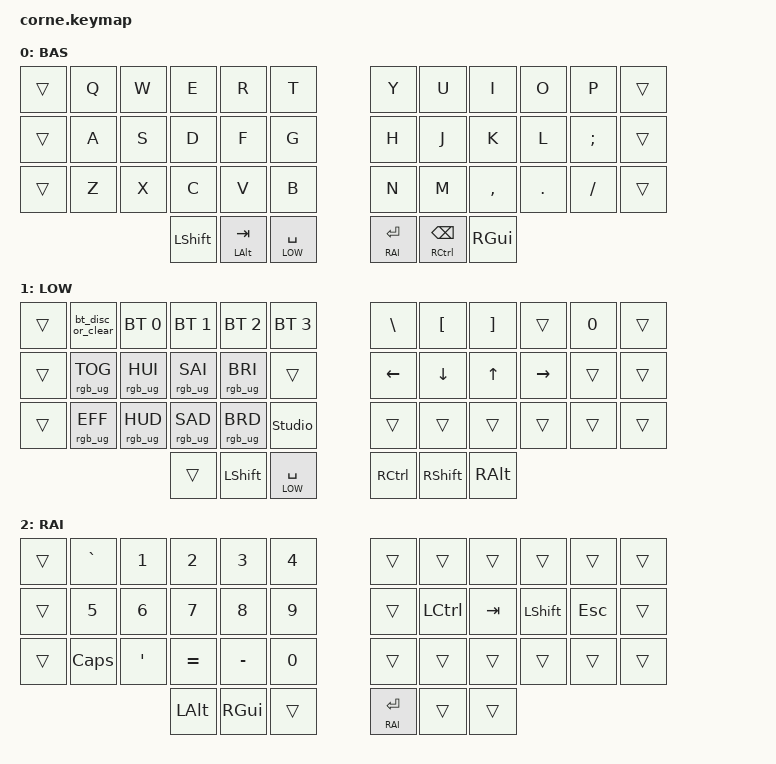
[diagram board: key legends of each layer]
/*
 * Copyright (c) 2020 The ZMK Contributors
 *
 * SPDX-License-Identifier: MIT
 */

#include <behaviors.dtsi>
#include <dt-bindings/zmk/keys.h>
#include <dt-bindings/zmk/bt.h>
#include <dt-bindings/zmk/rgb.h>

#define BAS 0
#define LOW 1
#define RAI 2

&led_strip {
    chain-length = <27>;
};

/ {
    behaviors {
        bt_clear: bt_clear {
            compatible = "zmk,behavior-macro";
            #binding-cells = <0>;
            bindings = <&bt BT_CLR>;
        };

        bt_disconnect: bt_disconnect {
            compatible = "zmk,behavior-macro";
            #binding-cells = <0>;
            bindings = <&bt BT_DISC 0>;
        };

        bt_disc_or_clear: bt_disc_or_clear {
            compatible = "zmk,behavior-tap-dance";
            #binding-cells = <0>;
            tapping-term-ms = <200>;
            bindings = <&bt_clear>, <&bt_disconnect>;
        };
    };

    keymap {
        compatible = "zmk,keymap";

        default_layer {
            display-name = "BAS";
            bindings = <
                &trans &kp Q       &kp W    &kp E    &kp R    &kp T        &kp Y    &kp U    &kp I     &kp O   &kp P          &trans
                &trans &kp A       &kp S    &kp D    &kp F    &kp G        &kp H    &kp J    &kp K     &kp L   &kp SEMI       &trans
                &trans &kp Z       &kp X    &kp C    &kp V    &kp B        &kp N    &kp M    &kp COMMA &kp DOT &kp FSLH       &trans
                        &kp LSHIFT &mt LALT TAB &lt LOW SPACE &lt RAI RET &mt RCTRL BSPC &kp RGUI
            >;
        };

        lower_layer {
            display-name = "LOW";
            bindings = <
                &trans &bt_disc_or_clear   &bt BT_SEL 0   &bt BT_SEL 1   &bt BT_SEL 2   &bt BT_SEL 3      &kp BSLH &kp LBKT &kp RBKT &trans    &kp N0  &trans
                &trans &rgb_ug RGB_TOG &rgb_ug RGB_HUI &rgb_ug RGB_SAI &rgb_ug RGB_BRI &trans         &kp LEFT &kp DOWN       &kp UP          &kp RIGHT &trans  &trans
                &trans &rgb_ug RGB_EFF &rgb_ug RGB_HUD &rgb_ug RGB_SAD &rgb_ug RGB_BRD &studio_unlock &trans   &trans         &trans          &trans    &trans  &trans
                                     &trans          &kp LSHIFT           &lt LOW SPACE         &kp RCTRL           &kp RSHIFT &kp RALT
            >;
        };

        raise_layer {
            display-name = "RAI";
            bindings = <
                &trans &kp GRAVE    &kp N1    &kp N2    &kp N3    &kp N4     &trans &trans    &trans    &trans    &trans  &trans
                &trans &kp N5       &kp N6    &kp N7    &kp N8    &kp N9     &trans &kp LCTRL &kp TAB   &kp LSHFT &kp ESC &trans
                &trans &kp CAPSLOCK &kp APOS  &kp EQUAL &kp MINUS &kp N0     &trans &trans    &trans    &trans    &trans  &trans
                              &kp LALT   &kp RGUI  &trans    &lt RAI RET  &trans    &trans
            >;
        };

        fn_layer {
            status = "reserved";
        };

        dota_layer {
            status = "reserved";
        };
    };

    combos {
        compatible = "zmk,combos";

        low_to_rai {
            timeout-ms = <40>;
            require-prior-idle-ms = <120>;
            key-positions = <38 39>;
            layers = <LOW>;
            bindings = <&to RAI>;
        };

        rai_to_low {
            timeout-ms = <40>;
            require-prior-idle-ms = <120>;
            key-positions = <38 39>;
            layers = <RAI>;
            bindings = <&to LOW>;
        };
    };
};
